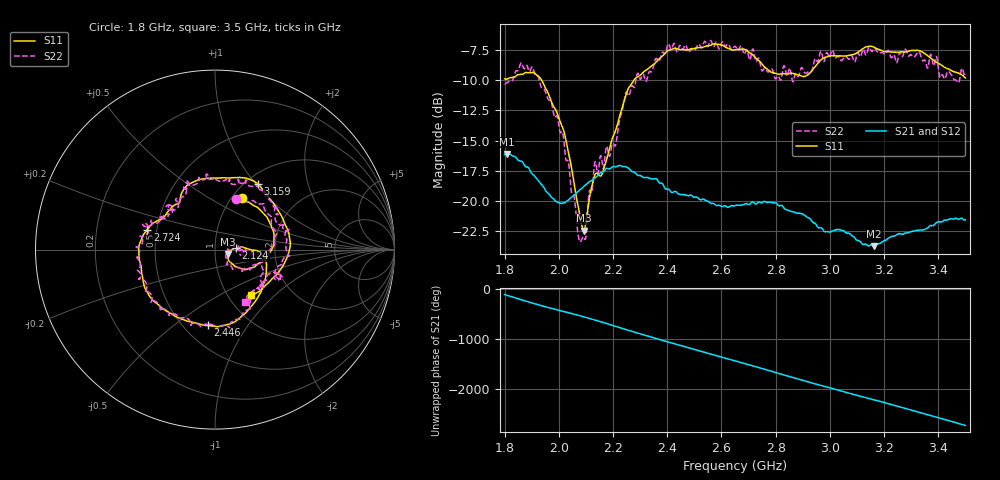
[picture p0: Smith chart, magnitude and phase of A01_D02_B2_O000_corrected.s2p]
! Created with skrf 1.9.0 (http://scikit-rf.org).
# Hz S RI R 50.0
!freq ReS11 ImS11 ReS21 ImS21 ReS12 ImS12 ReS22 ImS22
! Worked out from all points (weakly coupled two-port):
!   1601 points, 1.8 GHz to 3.5 GHz, reference 50 ohm
!   highest |S21| = -16.11 dB at 1.808 GHz (marker M1); lowest = -23.8 dB at 3.163 GHz (marker M2)
!   lowest |S11| = -22.5 dB at 2.092 GHz (marker M3), VSWR 1.16, Z = 57.6 - j2.78 ohm
!   |S11| at or under -10 dB: 1.937 GHz to 2.277 GHz (339.5 MHz wide, 16.1 % of centre)
!   |S22| runs from -23.4 to -6.7 dB; largest |S21 - S12| = 0.0025
!   S11 on the Smith chart (normalised r, x): 1.8 GHz: 1.11, +0.71; 2.124 GHz: 1.27, +0.02; 2.446 GHz: 0.65, -0.67; 2.724 GHz: 0.44, +0.12; 3.159 GHz: 1.14, +1.03; 3.5 GHz: 1.27, -0.72
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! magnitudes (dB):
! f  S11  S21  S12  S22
! 1.8 GHz  -9.9  -16.2  -16.1  -10.3
! 1.808 GHz  -9.9  -16.1  -16.1  -10.2
! 1.902 GHz  -9.3  -17.8  -17.7  -8.9
! 1.969 GHz  -11.6  -19.6  -19.6  -11.7
! 2.021 GHz  -14.4  -20.2  -20.1  -15.6
! 2.084 GHz  -21.9  -19.0  -18.9  -23.2
! 2.092 GHz  -22.5  -18.8  -18.8  -23.0
! 2.124 GHz  -18.6  -18.3  -18.2  -18.9
! 2.161 GHz  -17.7  -17.6  -17.5  -17.0
! 2.208 GHz  -14.3  -17.2  -17.1  -15.4
! 2.259 GHz  -10.6  -17.3  -17.3  -11.3
! 2.367 GHz  -8.3  -18.4  -18.3  -8.4
! 2.446 GHz  -7.5  -19.5  -19.4  -7.1
! 2.65 GHz  -7.5  -20.4  -20.4  -7.2
! 2.724 GHz  -8.1  -20.3  -20.2  -8.2
! 2.81 GHz  -9.5  -20.4  -20.3  -9.7
! 2.934 GHz  -9.2  -21.7  -21.7  -9.2
! 3.159 GHz  -7.2  -23.7  -23.7  -7.5
! 3.163 GHz  -7.2  -23.8  -23.7  -7.3
! 3.217 GHz  -7.6  -23.1  -23.0  -7.6
! 3.331 GHz  -7.6  -22.4  -22.4  -7.7
! 3.5 GHz  -9.8  -21.6  -21.5  -9.5
